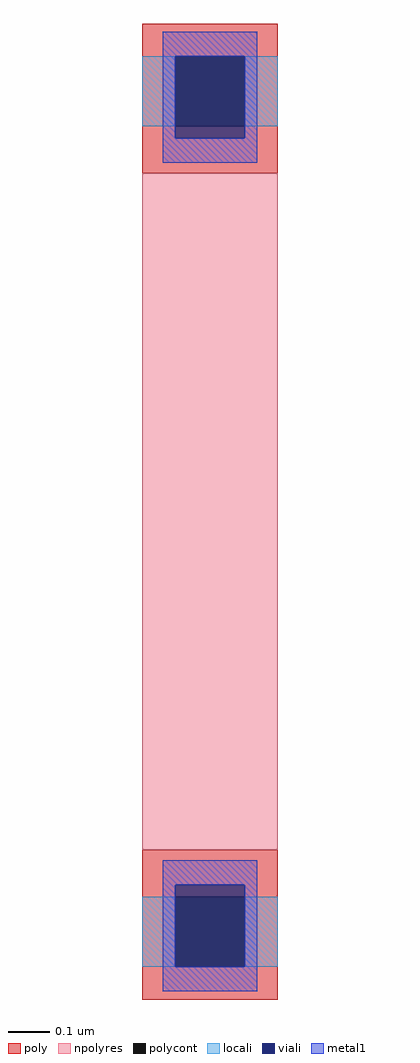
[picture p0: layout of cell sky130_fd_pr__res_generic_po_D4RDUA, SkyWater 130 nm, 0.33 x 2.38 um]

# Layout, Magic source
magic
tech sky130A
magscale 1 2
<< poly >>
rect -33 222 33 238
rect -33 188 -17 222
rect 17 188 33 222
rect -33 165 33 188
rect -33 -188 33 -165
rect -33 -222 -17 -188
rect 17 -222 33 -188
rect -33 -238 33 -222
<< polycont >>
rect -17 188 17 222
rect -17 -222 17 -188
<< npolyres >>
rect -33 -165 33 165
<< locali >>
rect -33 188 -17 222
rect 17 188 33 222
rect -33 -222 -17 -188
rect 17 -222 33 -188
<< viali >>
rect -17 188 17 222
rect -17 182 17 188
rect -17 -188 17 -182
rect -17 -222 17 -188
<< metal1 >>
rect -23 222 23 234
rect -23 182 -17 222
rect 17 182 23 222
rect -23 170 23 182
rect -23 -182 23 -170
rect -23 -222 -17 -182
rect 17 -222 23 -182
rect -23 -234 23 -222
<< properties >>
string gencell sky130_fd_pr__res_generic_po
string library sky130
string parameters w 0.330 l 1.650 m 1 nx 1 wmin 0.330 lmin 1.650 rho 48.2 val 241.0 dummy 0 dw 0.0 term 0.0 sterm 0.0 caplen 0.4 snake 0 guard 0 glc 1 grc 1 gtc 1 gbc 1 roverlap 0 endcov 100 full_metal 1 hv_guard 0 n_guard 0 vias 1 viagb 0 viagt 0 viagl 0 viagr 0
<< end >>
